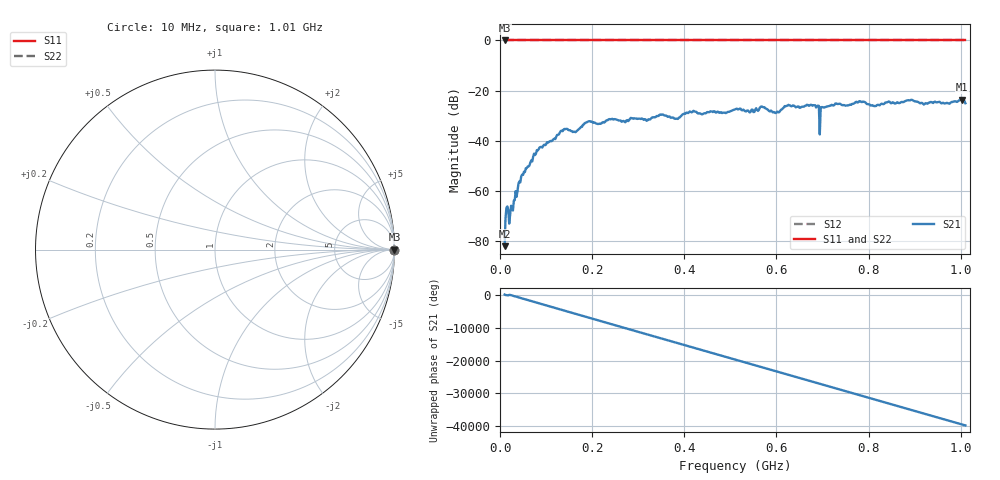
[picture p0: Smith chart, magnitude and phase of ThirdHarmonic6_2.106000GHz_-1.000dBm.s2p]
! 8/17/2025 1:11:38 AM
! C:\ANRITSUVNA\TEMP\TEMP.S2P
! CHANNEL.1
! TR.MEASUREMENT
! RAW.DATA
! RF.CORRECTION.OFF
! AVERAGING.OFF
! IF.BANDWIDTH: 5KHZ
! SWEEPTYPE:  FREQ.SWEEP(Linear)
! Reference Plane Port Info
! PORT:  PORT1  PORT2
! DISTANCE:  0  m  0  m
! TIME:  0  s  0  s
! PHASE.OFFSET:  0  deg.  0  deg.
! LOSS:  0  dB  0  dB
! REF.LOSS:  0  dB  0  dB
! REF.FREQ:  0  Hz  0  Hz
! Power Info
! POWER:  -20  dBm  -20  dBm
! EFF.POWER:  -20  dBm  -20  dBm
! SOURCE.ATTEN:  0  dB  0  dB
! TEST.ATTEN:  0  dB  0  dB
# GHZ S RI R 50.0
! FREQ.GHZ  S11RE  S11IM  S21RE  S21IM  S12RE  S12IM  S22RE  S22IM
!; PortSelection: Port_12
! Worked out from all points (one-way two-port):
!   501 points, 10 MHz to 1.01 GHz, reference 50 ohm
!   highest |S21| = -23.55 dB at 1.002 GHz (marker M1); lowest = -81.9 dB at 10 MHz (marker M2)
!   lowest |S11| = 0.0 dB at 10 MHz (marker M3)
!   |S11| at or under -10 dB: nowhere
!   |S22| runs from 0.0 to 0.0 dB; largest |S21 - S12| = 1.1
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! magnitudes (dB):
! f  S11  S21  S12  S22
! 10 MHz  0.0  -81.9  0.0  0.0
! 16 MHz  0.0  -66.1  0.0  0.0
! 24 MHz  0.0  -65.8  0.0  0.0
! 44 MHz  0.0  -56.5  0.0  0.0
! 84 MHz  0.0  -43.3  0.0  0.0
! 136 MHz  0.0  -36.1  0.0  0.0
! 162 MHz  0.0  -36.4  0.0  0.0
! 178 MHz  0.0  -34.4  0.0  0.0
! 344 MHz  0.0  -30.0  0.0  0.0
! 382 MHz  0.0  -31.1  0.0  0.0
! 416 MHz  0.0  -28.6  0.0  0.0
! 510 MHz  0.0  -27.4  0.0  0.0
! 570 MHz  0.0  -26.5  0.0  0.0
! 600 MHz  0.0  -28.7  0.0  0.0
! 622 MHz  0.0  -26.1  0.0  0.0
! 678 MHz  0.0  -25.9  0.0  0.0
! 698 MHz  0.0  -26.5  0.0  0.0
! 700 MHz  0.0  -26.5  0.0  0.0
! 732 MHz  0.0  -25.3  0.0  0.0
! 844 MHz  0.0  -24.3  0.0  0.0
! 1.002 GHz  0.0  -23.5  0.0  0.0
! 1.01 GHz  0.0  -25.0  0.0  0.0
